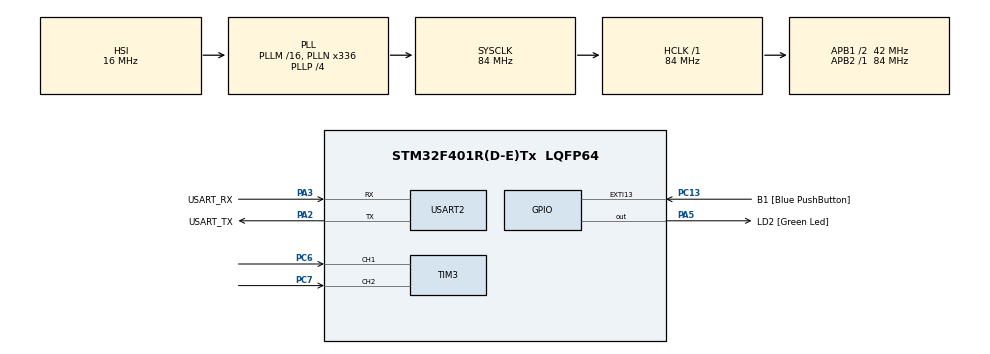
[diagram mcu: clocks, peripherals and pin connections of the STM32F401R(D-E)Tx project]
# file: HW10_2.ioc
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Dma.Request0=USART2_TX
Dma.USART2_TX.0.Direction=DMA_MEMORY_TO_PERIPH
Dma.USART2_TX.0.FIFOMode=DMA_FIFOMODE_DISABLE
Dma.USART2_TX.0.Instance=DMA1_Stream6
Dma.USART2_TX.0.MemDataAlignment=DMA_MDATAALIGN_BYTE
Dma.USART2_TX.0.MemInc=DMA_MINC_ENABLE
Dma.USART2_TX.0.Mode=DMA_NORMAL
Dma.USART2_TX.0.PeriphDataAlignment=DMA_PDATAALIGN_BYTE
Dma.USART2_TX.0.PeriphInc=DMA_PINC_DISABLE
Dma.USART2_TX.0.Priority=DMA_PRIORITY_HIGH
Mcu.Family=STM32F4
Mcu.Name=STM32F401R(D-E)Tx
Mcu.Package=LQFP64
NVIC.DMA1_Stream6_IRQn=true\:0\:0\:false\:false\:true\:false\:true\:true
NVIC.PriorityGroup=NVIC_PRIORITYGROUP_4
NVIC.TIM2_IRQn=true\:0\:0\:false\:false\:true\:true\:true\:true
NVIC.USART2_IRQn=true\:0\:0\:false\:false\:true\:true\:true\:true
PA13.GPIO_Label=TMS
PA13.Mode=Trace_Asynchronous_SW
PA13.Signal=SYS_JTMS-SWDIO
PA14.GPIO_Label=TCK
PA14.Mode=Trace_Asynchronous_SW
PA14.Signal=SYS_JTCK-SWCLK
PA2.GPIO_Label=USART_TX
PA2.GPIO_Mode=GPIO_MODE_AF_PP
PA2.GPIO_PuPd=GPIO_NOPULL
PA2.GPIO_Speed=GPIO_SPEED_FREQ_LOW
PA2.Mode=Asynchronous
PA2.Signal=USART2_TX
PA3.GPIO_Label=USART_RX
PA3.GPIO_Mode=GPIO_MODE_AF_PP
PA3.GPIO_PuPd=GPIO_NOPULL
PA3.GPIO_Speed=GPIO_SPEED_FREQ_LOW
PA3.Mode=Asynchronous
PA3.Signal=USART2_RX
PA5.GPIO_Label=LD2 [Green Led]
PA5.GPIO_Mode=GPIO_MODE_OUTPUT_PP
PA5.GPIO_PuPd=GPIO_NOPULL
PA5.GPIO_Speed=GPIO_SPEED_FREQ_LOW
PA5.Signal=GPIO_Output
PB3.GPIO_Label=SWO
PB3.Mode=Trace_Asynchronous_SW
PB3.Signal=SYS_JTDO-SWO
PC13-ANTI_TAMP.GPIO_Label=B1 [Blue PushButton]
PC13-ANTI_TAMP.GPIO_ModeDefaultEXTI=GPIO_MODE_IT_FALLING
PC13-ANTI_TAMP.GPIO_PuPd=GPIO_NOPULL
PC13-ANTI_TAMP.Signal=GPXTI13
PC14-OSC32_IN.Mode=LSE-External-Oscillator
PC14-OSC32_IN.Signal=RCC_OSC32_IN
PC15-OSC32_OUT.Mode=LSE-External-Oscillator
PC15-OSC32_OUT.Signal=RCC_OSC32_OUT
PC6.Signal=S_TIM3_CH1
PC7.Signal=S_TIM3_CH2
PH0\ -\ OSC_IN.Mode=HSE-External-Clock-Source
PH0\ -\ OSC_IN.Signal=RCC_OSC_IN
PH1\ -\ OSC_OUT.Mode=HSE-External-Clock-Source
PH1\ -\ OSC_OUT.Signal=RCC_OSC_OUT
ProjectManager.HeapSize=0x200
ProjectManager.StackSize=0x400
ProjectManager.TargetToolchain=STM32CubeIDE
RCC.48MHZClocksFreq_Value=48000000
RCC.AHBFreq_Value=84000000
RCC.APB1CLKDivider=RCC_HCLK_DIV2
RCC.APB1Freq_Value=42000000
RCC.APB1TimFreq_Value=84000000
RCC.APB2Freq_Value=84000000
RCC.APB2TimFreq_Value=84000000
RCC.CortexFreq_Value=84000000
RCC.HCLKFreq_Value=84000000
RCC.HSE_VALUE=8000000
RCC.HSI_VALUE=16000000
RCC.PLLN=336
RCC.PLLP=RCC_PLLP_DIV4
RCC.PLLQ=7
RCC.SYSCLKFreq_VALUE=84000000
RCC.SYSCLKSource=RCC_SYSCLKSOURCE_PLLCLK
RCC.VCOOutputFreq_Value=336000000
SH.S_TIM3_CH1.0=TIM3_CH1,Encoder_Interface
SH.S_TIM3_CH2.0=TIM3_CH2,Encoder_Interface
TIM2.Period=839999
TIM2.Prescaler=99
TIM3.ClockDivision=TIM_CLOCKDIVISION_DIV4
TIM3.IC1Filter=15
TIM3.IC1Polarity=TIM_ICPOLARITY_FALLING
USART2.VirtualMode=VM_ASYNC
VP_TIM2_VS_ClockSourceINT.Mode=Internal
board=NUCLEO-F401RE

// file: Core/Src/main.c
/* USER CODE BEGIN Header */
/**
  ******************************************************************************
  * @file           : main.c
  * @brief          : Main program body
  ******************************************************************************
  * @attention
  *
  * Copyright (c) 2026 STMicroelectronics.
  * All rights reserved.
  *
  * This software is licensed under terms that can be found in the LICENSE file
  * in the root directory of this software component.
  * If no LICENSE file comes with this software, it is provided AS-IS.
  *
  ******************************************************************************
  */
/* USER CODE END Header */
#include "main.h"

/* USER CODE BEGIN Includes */
#include "stdio.h"
#include "string.h"
/* USER CODE END Includes */

/* USER CODE BEGIN PD */
#define STEPS_PER_REVOLUTION 24
/* USER CODE END PD */

TIM_HandleTypeDef htim2;
TIM_HandleTypeDef htim3;

UART_HandleTypeDef huart2;
DMA_HandleTypeDef hdma_usart2_tx;

/* USER CODE BEGIN PV */
char tx_buffer[50];
float rpm;
static uint16_t value;
static uint16_t past_value=0;

/* USER CODE END PV */

void SystemClock_Config(void);
static void MX_GPIO_Init(void);
static void MX_DMA_Init(void);
static void MX_USART2_UART_Init(void);
static void MX_TIM2_Init(void);
static void MX_TIM3_Init(void);

/* USER CODE BEGIN 0 */
void HAL_TIM_PeriodElapsedCallback(TIM_HandleTypeDef *htim)
{
    if (htim->Instance == TIM2)
    {
    	// Per osservare quanti "step" corrispondono ad una rivoluzione completa
    	// Così abbiamo letto CNT = 24
    	/*uint16_t curr = __HAL_TIM_GET_COUNTER(&htim3);
    	int len = sprintf(tx_buffer, "CNT = %u\r\n", curr);
    	HAL_UART_Transmit_DMA(&huart2, (uint8_t*)tx_buffer, len);*/

    	value = __HAL_TIM_GET_COUNTER(&htim3);
    	int16_t delta = (int16_t) (value-past_value);
    	rpm = ((float)delta/STEPS_PER_REVOLUTION)*60.0f;
    	int len = sprintf(tx_buffer, "rpm = %+.1f \r\n", rpm);
    	HAL_UART_Transmit_DMA(&huart2, (uint8_t*)tx_buffer, len);
    	past_value=value;
    }
}

/* USER CODE END 0 */

int main(void)
{

  /* MCU Configuration--------------------------------------------------------*/

  /* Reset of all peripherals, Initializes the Flash interface and the Systick. */
  HAL_Init();

  /* Configure the system clock */
  SystemClock_Config();

  /* Initialize all configured peripherals */
  MX_GPIO_Init();
  MX_DMA_Init();
  MX_USART2_UART_Init();
  MX_TIM2_Init();
  MX_TIM3_Init();
  /* USER CODE BEGIN 2 */
  HAL_TIM_Encoder_Start(&htim3, TIM_CHANNEL_ALL);
  HAL_TIM_Base_Start_IT(&htim2);

  /* USER CODE END 2 */

  /* Infinite loop */
  while (1)
  {

  }
}

void SystemClock_Config(void)
{
  RCC_OscInitTypeDef RCC_OscInitStruct = {0};
  RCC_ClkInitTypeDef RCC_ClkInitStruct = {0};

  /** Configure the main internal regulator output voltage
  */
  __HAL_RCC_PWR_CLK_ENABLE();
  __HAL_PWR_VOLTAGESCALING_CONFIG(PWR_REGULATOR_VOLTAGE_SCALE2);

  /** Initializes the RCC Oscillators according to the specified parameters
  * in the RCC_OscInitTypeDef structure.
  */
  RCC_OscInitStruct.OscillatorType = RCC_OSCILLATORTYPE_HSI;
  RCC_OscInitStruct.HSIState = RCC_HSI_ON;
  RCC_OscInitStruct.HSICalibrationValue = RCC_HSICALIBRATION_DEFAULT;
  RCC_OscInitStruct.PLL.PLLState = RCC_PLL_ON;
  RCC_OscInitStruct.PLL.PLLSource = RCC_PLLSOURCE_HSI;
  RCC_OscInitStruct.PLL.PLLM = 16;
  RCC_OscInitStruct.PLL.PLLN = 336;
  RCC_OscInitStruct.PLL.PLLP = RCC_PLLP_DIV4;
  RCC_OscInitStruct.PLL.PLLQ = 7;
  if (HAL_RCC_OscConfig(&RCC_OscInitStruct) != HAL_OK)
  {
    Error_Handler();
  }

  /** Initializes the CPU, AHB and APB buses clocks
  */
  RCC_ClkInitStruct.ClockType = RCC_CLOCKTYPE_HCLK|RCC_CLOCKTYPE_SYSCLK
                              |RCC_CLOCKTYPE_PCLK1|RCC_CLOCKTYPE_PCLK2;
  RCC_ClkInitStruct.SYSCLKSource = RCC_SYSCLKSOURCE_PLLCLK;
  RCC_ClkInitStruct.AHBCLKDivider = RCC_SYSCLK_DIV1;
  RCC_ClkInitStruct.APB1CLKDivider = RCC_HCLK_DIV2;
  RCC_ClkInitStruct.APB2CLKDivider = RCC_HCLK_DIV1;

  if (HAL_RCC_ClockConfig(&RCC_ClkInitStruct, FLASH_LATENCY_2) != HAL_OK)
  {
    Error_Handler();
  }
}

static void MX_TIM2_Init(void)
{

  TIM_ClockConfigTypeDef sClockSourceConfig = {0};
  TIM_MasterConfigTypeDef sMasterConfig = {0};

  htim2.Instance = TIM2;
  htim2.Init.Prescaler = 99;
  htim2.Init.CounterMode = TIM_COUNTERMODE_UP;
  htim2.Init.Period = 839999;
  htim2.Init.ClockDivision = TIM_CLOCKDIVISION_DIV1;
  htim2.Init.AutoReloadPreload = TIM_AUTORELOAD_PRELOAD_DISABLE;
  if (HAL_TIM_Base_Init(&htim2) != HAL_OK)
  {
    Error_Handler();
  }
  sClockSourceConfig.ClockSource = TIM_CLOCKSOURCE_INTERNAL;
  if (HAL_TIM_ConfigClockSource(&htim2, &sClockSourceConfig) != HAL_OK)
  {
    Error_Handler();
  }
  sMasterConfig.MasterOutputTrigger = TIM_TRGO_RESET;
  sMasterConfig.MasterSlaveMode = TIM_MASTERSLAVEMODE_DISABLE;
  if (HAL_TIMEx_MasterConfigSynchronization(&htim2, &sMasterConfig) != HAL_OK)
  {
    Error_Handler();
  }

}

static void MX_TIM3_Init(void)
{

  TIM_Encoder_InitTypeDef sConfig = {0};
  TIM_MasterConfigTypeDef sMasterConfig = {0};

  htim3.Instance = TIM3;
  htim3.Init.Prescaler = 0;
  htim3.Init.CounterMode = TIM_COUNTERMODE_UP;
  htim3.Init.Period = 65535;
  htim3.Init.ClockDivision = TIM_CLOCKDIVISION_DIV4;
  htim3.Init.AutoReloadPreload = TIM_AUTORELOAD_PRELOAD_DISABLE;
  sConfig.EncoderMode = TIM_ENCODERMODE_TI1;
  sConfig.IC1Polarity = TIM_ICPOLARITY_FALLING;
  sConfig.IC1Selection = TIM_ICSELECTION_DIRECTTI;
  sConfig.IC1Prescaler = TIM_ICPSC_DIV1;
  sConfig.IC1Filter = 15;
  sConfig.IC2Polarity = TIM_ICPOLARITY_RISING;
  sConfig.IC2Selection = TIM_ICSELECTION_DIRECTTI;
  sConfig.IC2Prescaler = TIM_ICPSC_DIV1;
  sConfig.IC2Filter = 0;
  if (HAL_TIM_Encoder_Init(&htim3, &sConfig) != HAL_OK)
  {
    Error_Handler();
  }
  sMasterConfig.MasterOutputTrigger = TIM_TRGO_RESET;
  sMasterConfig.MasterSlaveMode = TIM_MASTERSLAVEMODE_DISABLE;
  if (HAL_TIMEx_MasterConfigSynchronization(&htim3, &sMasterConfig) != HAL_OK)
  {
    Error_Handler();
  }

}

static void MX_USART2_UART_Init(void)
{

  huart2.Instance = USART2;
  huart2.Init.BaudRate = 115200;
  huart2.Init.WordLength = UART_WORDLENGTH_8B;
  huart2.Init.StopBits = UART_STOPBITS_1;
  huart2.Init.Parity = UART_PARITY_NONE;
  huart2.Init.Mode = UART_MODE_TX_RX;
  huart2.Init.HwFlowCtl = UART_HWCONTROL_NONE;
  huart2.Init.OverSampling = UART_OVERSAMPLING_16;
  if (HAL_UART_Init(&huart2) != HAL_OK)
  {
    Error_Handler();
  }

}

static void MX_DMA_Init(void)
{

  /* DMA controller clock enable */
  __HAL_RCC_DMA1_CLK_ENABLE();

  /* DMA interrupt init */
  /* DMA1_Stream6_IRQn interrupt configuration */
  HAL_NVIC_SetPriority(DMA1_Stream6_IRQn, 0, 0);
  HAL_NVIC_EnableIRQ(DMA1_Stream6_IRQn);

}

static void MX_GPIO_Init(void)
{
  GPIO_InitTypeDef GPIO_InitStruct = {0};

  /* GPIO Ports Clock Enable */
  __HAL_RCC_GPIOC_CLK_ENABLE();
  __HAL_RCC_GPIOH_CLK_ENABLE();
  __HAL_RCC_GPIOA_CLK_ENABLE();
  __HAL_RCC_GPIOB_CLK_ENABLE();

  /*Configure GPIO pin Output Level */
  HAL_GPIO_WritePin(LD2_GPIO_Port, LD2_Pin, GPIO_PIN_RESET);

  /*Configure GPIO pin : B1_Pin */
  GPIO_InitStruct.Pin = B1_Pin;
  GPIO_InitStruct.Mode = GPIO_MODE_IT_FALLING;
  GPIO_InitStruct.Pull = GPIO_NOPULL;
  HAL_GPIO_Init(B1_GPIO_Port, &GPIO_InitStruct);

  /*Configure GPIO pin : LD2_Pin */
  GPIO_InitStruct.Pin = LD2_Pin;
  GPIO_InitStruct.Mode = GPIO_MODE_OUTPUT_PP;
  GPIO_InitStruct.Pull = GPIO_NOPULL;
  GPIO_InitStruct.Speed = GPIO_SPEED_FREQ_LOW;
  HAL_GPIO_Init(LD2_GPIO_Port, &GPIO_InitStruct);

}

void Error_Handler(void)
{
  __disable_irq();
  while (1)
  {
  }
}
